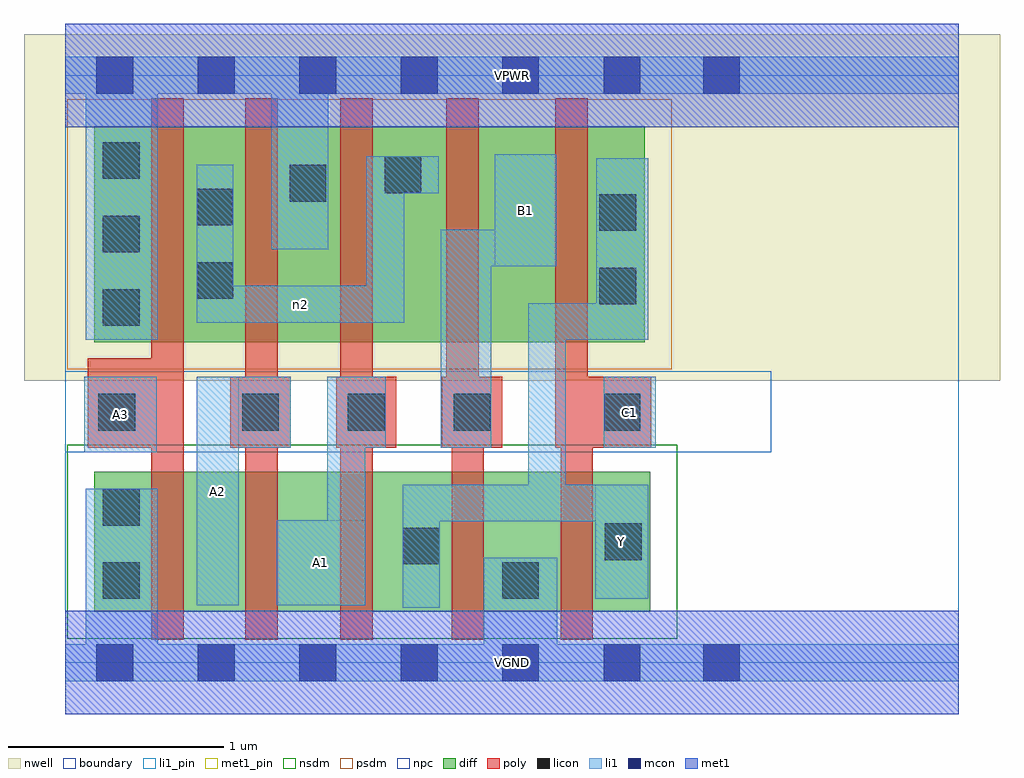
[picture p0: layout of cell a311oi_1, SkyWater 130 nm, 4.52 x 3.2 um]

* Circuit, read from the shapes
.subckt a311oi_1 A1 A2 A3 B1 C1 VGND VPWR Y n2
XM1 n1 A3 VGND VSUBS sky130_fd_pr__nfet_01v8 w=0.65 l=0.15
XM2 n3 A2 n1 VSUBS sky130_fd_pr__nfet_01v8 w=0.65 l=0.15
XM3 Y A1 n3 VSUBS sky130_fd_pr__nfet_01v8 w=0.65 l=0.15
XM4 VGND B1 Y VSUBS sky130_fd_pr__nfet_01v8 w=0.65 l=0.15
XM5 Y C1 VGND VSUBS sky130_fd_pr__nfet_01v8 w=0.65 l=0.15
XM6 n2 A3 VPWR n4 sky130_fd_pr__pfet_01v8 w=1 l=0.15
XM7 VPWR A2 n2 n4 sky130_fd_pr__pfet_01v8 w=1 l=0.15
XM8 n2 A1 VPWR n4 sky130_fd_pr__pfet_01v8 w=1 l=0.15
XM9 n5 B1 n2 n4 sky130_fd_pr__pfet_01v8 w=1 l=0.15
XM10 Y C1 n5 n4 sky130_fd_pr__pfet_01v8 w=1 l=0.15
.ends

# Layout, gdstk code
import gdstk
lib = gdstk.Library(unit=1e-6, precision=1e-09)
def R(c, l, rs):  # rectangles x0, y0, x1, y1
    for r in rs: c.add(gdstk.rectangle(r[:2], r[2:], *l))
def A(c, l, x, y, w, h, nx, ny, dx, dy):  # array of equal rectangles
    R(c, l, [(x+i*dx, y+j*dy, x+i*dx+w, y+j*dy+h) for i in range(nx) for j in range(ny)])
nwell = (64, 20)
diff = (65, 20)
poly = (66, 20)
licon = (66, 44)
li1_pin = (67, 16)
li1 = (67, 20)
mcon = (67, 44)
met1_pin = (68, 16)
met1 = (68, 20)
nsdm = (93, 44)
psdm = (94, 20)
npc = (95, 20)
boundary = (235, 4)

a311oi_1 = lib.new_cell('a311oi_1')
R(a311oi_1, nwell, [(-0.19,1.305,4.33,2.91), (0,1.305,4.14,2.91)])
R(a311oi_1, diff, [(0.135,0.235,2.71,0.885), (0.135,1.485,2.685,2.485)])
A(a311oi_1, poly, 0.765, 0.995, 0.28, 0.33, 3, 1, 0.49, 0)
R(a311oi_1, poly, [(0.4,0.105,0.55,2.615), (0.835,0.105,0.985,2.615), (1.275,0.105,1.425,2.615), (1.79,0.105,1.94,1.325), (2.295,0.105,2.445,1.325), (0.105,0.995,0.55,1.41), (1.765,0.995,1.915,2.615), (2.27,0.995,2.42,2.615), (2.27,0.995,2.715,1.325)])
A(a311oi_1, licon, 0.82, 1.075, 0.17, 0.17, 3, 1, 0.49, 0)
A(a311oi_1, licon, 0.175, 1.56, 0.17, 0.17, 1, 3, 0, 0.34)
R(a311oi_1, licon, [(0.175,0.295,0.345,0.465), (2.025,0.295,2.195,0.465), (1.565,0.455,1.735,0.625), (2.5,0.475,2.67,0.645), (0.175,0.635,0.345,0.805), (0.155,1.075,0.325,1.245), (2.495,1.075,2.665,1.245), (2.475,1.66,2.645,1.83), (0.61,1.685,0.78,1.855), (2.475,2,2.645,2.17), (0.61,2.025,0.78,2.195), (1.04,2.135,1.21,2.305), (1.48,2.175,1.65,2.345)])
R(a311oi_1, li1_pin, [(0.61,0.265,0.805,1.325), (0.98,0.265,1.39,0.66), (2.455,0.295,2.7,0.825), (0.09,0.975,0.425,1.325), (2.495,0.995,2.735,1.325), (1.99,1.835,2.275,2.355)])
R(a311oi_1, li1, [(0,-0.085,4.14,0.085), (0.095,-0.085,0.43,0.805), (1.94,-0.085,2.28,0.485), (1.565,0.255,1.735,0.825), (0.61,0.265,0.805,1.325), (0.98,0.265,1.39,0.66), (1.215,0.265,1.39,1.325), (2.455,0.295,2.7,0.825), (1.565,0.655,2.7,0.825), (2.145,0.655,2.32,1.665), (0.09,0.975,0.425,1.325), (0.61,0.995,1.045,1.325), (1.215,0.995,1.485,1.325), (1.74,0.995,1.975,2.005), (2.495,0.995,2.735,1.325), (0.095,1.495,0.43,2.805), (2.145,1.495,2.7,1.665), (2.46,1.495,2.7,2.335), (0.61,1.575,1.57,1.745), (0.61,1.575,0.78,2.305), (1.395,1.575,1.57,2.345), (1.74,1.835,2.275,2.005), (1.99,1.835,2.275,2.355), (0.955,1.915,1.22,2.805), (1.395,2.175,1.73,2.345), (0,2.635,4.14,2.805)])
A(a311oi_1, mcon, 0.145, -0.085, 0.17, 0.17, 6, 2, 0.47, 2.72)
R(a311oi_1, mcon, [(2.955,-0.085,3.125,0.085), (2.955,2.635,3.125,2.805)])
R(a311oi_1, met1_pin, [(0,-0.24,4.14,0.24), (0,2.48,4.14,2.96)])
R(a311oi_1, met1, [(0,-0.24,4.14,0.24), (0,2.48,4.14,2.96)])
R(a311oi_1, nsdm, [(0.01,0.11,2.835,1.01)])
R(a311oi_1, psdm, [(0.01,1.36,2.81,2.61)])
R(a311oi_1, npc, [(0,0.975,3.27,1.35)])
R(a311oi_1, boundary, [(0,0,4.14,2.72)])
a311oi_1.add(gdstk.Label('A1', (1.185,0.462), layer=67, texttype=5))
a311oi_1.add(gdstk.Label('A2', (0.707,0.795), layer=67, texttype=5))
a311oi_1.add(gdstk.Label('A3', (0.257,1.15), layer=67, texttype=5))
a311oi_1.add(gdstk.Label('B1', (2.132,2.095), layer=67, texttype=5))
a311oi_1.add(gdstk.Label('C1', (2.615,1.16), layer=67, texttype=5))
a311oi_1.add(gdstk.Label('Y', (2.577,0.56), layer=67, texttype=5))
a311oi_1.add(gdstk.Label('n2', (1.09,1.66), layer=67, texttype=5))
a311oi_1.add(gdstk.Label('VPWR', (2.07,2.72), layer=68, texttype=5))
a311oi_1.add(gdstk.Label('VGND', (2.07,0), layer=68, texttype=5))
a311oi_1.add(gdstk.Label('A1', (1.185,0.462), layer=67, texttype=16))
a311oi_1.add(gdstk.Label('A2', (0.707,0.795), layer=67, texttype=16))
a311oi_1.add(gdstk.Label('A3', (0.257,1.15), layer=67, texttype=16))
a311oi_1.add(gdstk.Label('B1', (2.132,2.095), layer=67, texttype=16))
a311oi_1.add(gdstk.Label('C1', (2.615,1.16), layer=67, texttype=16))
a311oi_1.add(gdstk.Label('Y', (2.577,0.56), layer=67, texttype=16))
a311oi_1.add(gdstk.Label('VPWR', (2.07,2.72), layer=68, texttype=16))
a311oi_1.add(gdstk.Label('VGND', (2.07,0), layer=68, texttype=16))

lib.write_gds('a311oi_1.gds')
